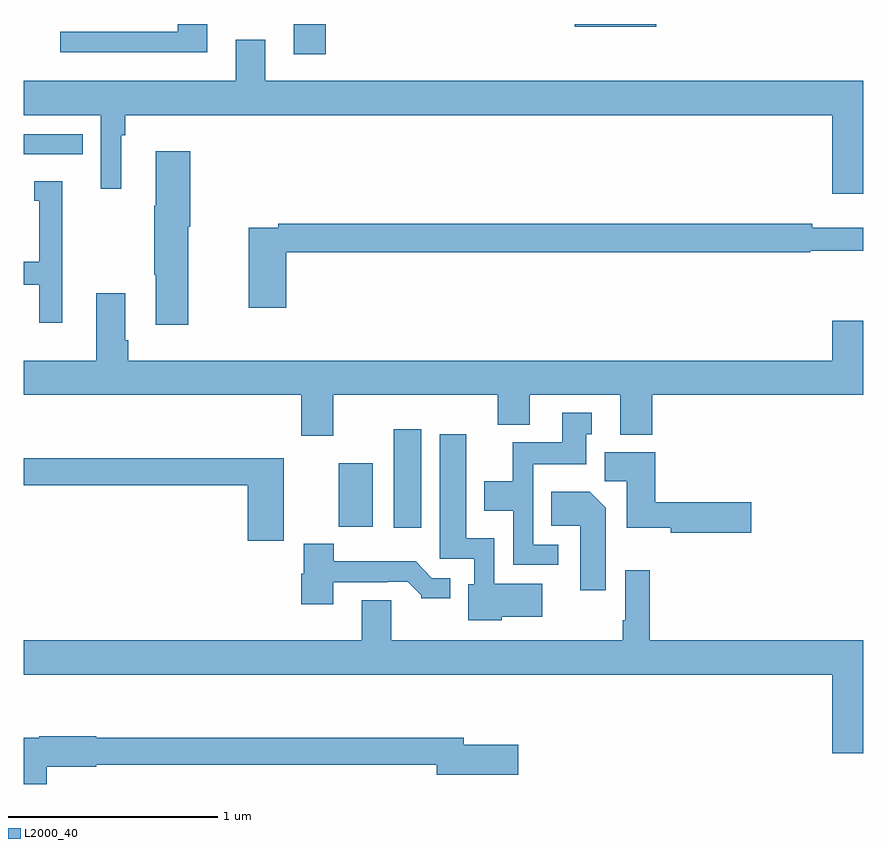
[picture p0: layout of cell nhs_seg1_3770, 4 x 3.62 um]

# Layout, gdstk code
import gdstk
lib = gdstk.Library(unit=1e-6, precision=1e-09)
def R(c, l, rs):  # rectangles x0, y0, x1, y1
    for r in rs: c.add(gdstk.rectangle(r[:2], r[2:], *l))
def P(c, l, *ps):  # polygons
    for p in ps: c.add(gdstk.Polygon(p, *l))
L2000_40 = (2000, 40)

nhs_seg1_3770 = lib.new_cell('nhs_seg1_3770')
R(nhs_seg1_3770, L2000_40, [(318.764,517.8,318.895,518.269), (317,519.579,317.282,519.675), (318.287,520.056,318.44,520.199), (319.626,520.187,320.014,520.199)])
P(nhs_seg1_3770, L2000_40, [(317.875,520.199),(317.735,520.199),(317.735,520.161),(317.175,520.161),(317.175,520.064),(317.875,520.064)],
  [(321,519.928),(318.151,519.928),(318.151,520.123),(318.011,520.123),(318.011,519.928),(317,519.928),(317,519.764),(317.367,519.764),(317.367,519.414),(317.464,519.414),(317.464,519.668),(317.483,519.668),(317.483,519.764),(320.852,519.764),(320.852,519.39),(321,519.39)],
  [(317.784,519.234),(317.794,519.234),(317.794,519.592),(317.63,519.592),(317.63,519.334),(317.623,519.334),(317.623,519.004),(317.63,519.004),(317.63,518.766),(317.784,518.766)],
  [(317.185,519.451),(317.051,519.451),(317.051,519.357),(317.075,519.357),(317.075,519.066),(317,519.066),(317,518.958),(317.075,518.958),(317.075,518.775),(317.185,518.775)],
  [(318.251,519.112),(320.746,519.112),(320.746,519.12),(321,519.12),(321,519.229),(320.756,519.229),(320.756,519.248),(318.214,519.248),(318.214,519.228),(318.073,519.228),(318.073,518.847),(318.251,518.847)],
  [(318.475,518.432),(319.259,518.432),(319.259,518.291),(319.411,518.291),(319.411,518.432),(319.841,518.432),(319.841,518.243),(319.994,518.243),(319.994,518.432),(321,518.432),(321,518.785),(320.852,518.785),(320.852,518.596),(317.498,518.596),(317.498,518.692),(317.485,518.692),(317.485,518.917),(317.345,518.917),(317.345,518.596),(317,518.596),(317,518.432),(318.323,518.432),(318.323,518.238),(318.475,518.238)],
  [(319.546,517.719),(319.428,517.719),(319.428,518.102),(319.681,518.102),(319.681,518.244),(319.705,518.244),(319.705,518.347),(319.565,518.347),(319.565,518.206),(319.33,518.206),(319.33,518.02),(319.193,518.02),(319.193,517.88),(319.332,517.88),(319.332,517.623),(319.546,517.623)],
  [(319.278,517.376),(319.471,517.376),(319.471,517.534),(319.242,517.534),(319.242,517.75),(319.108,517.75),(319.108,518.245),(318.983,518.245),(318.983,517.653),(319.146,517.653),(319.146,517.53),(319.118,517.53),(319.118,517.358),(319.278,517.358)],
  [(320.467,517.922),(320.009,517.922),(320.009,518.158),(319.769,518.158),(319.769,518.02),(319.874,518.02),(319.874,517.799),(320.082,517.799),(320.082,517.775),(320.467,517.775)],
  [(318.238,518.131),(317,518.131),(317,518.002),(318.068,518.002),(318.068,517.737),(318.238,517.737)],
  [(318.664,518.107),(318.5,518.107),(318.5,517.953),(318.502,517.953),(318.502,517.805),(318.664,517.805)],
  [(319.774,517.894),(319.696,517.972),(319.513,517.972),(319.513,517.808),(319.652,517.808),(319.652,517.503),(319.774,517.503)],
  [(318.475,517.539),(318.731,517.539),(318.731,517.542),(318.83,517.542),(318.894,517.478),(318.894,517.463),(319.033,517.463),(319.033,517.56),(318.945,517.56),(318.867,517.639),(318.478,517.639),(318.478,517.723),(318.335,517.723),(318.335,517.581),(318.323,517.581),(318.323,517.434),(318.475,517.434)],
  [(321,517.264),(319.982,517.264),(319.982,517.597),(319.866,517.597),(319.866,517.36),(319.854,517.36),(319.854,517.264),(318.751,517.264),(318.751,517.454),(318.611,517.454),(318.611,517.264),(317,517.264),(317,517.1),(320.852,517.1),(320.852,516.726),(321,516.726)],
  [(317.111,516.662),(317.346,516.662),(317.346,516.67),(318.968,516.67),(318.968,516.623),(319.357,516.623),(319.357,516.765),(319.096,516.765),(319.096,516.799),(317.346,516.799),(317.346,516.807),(317.074,516.807),(317.074,516.799),(317,516.799),(317,516.579),(317.111,516.579)])

lib.write_gds('nhs_seg1_3770.gds')
